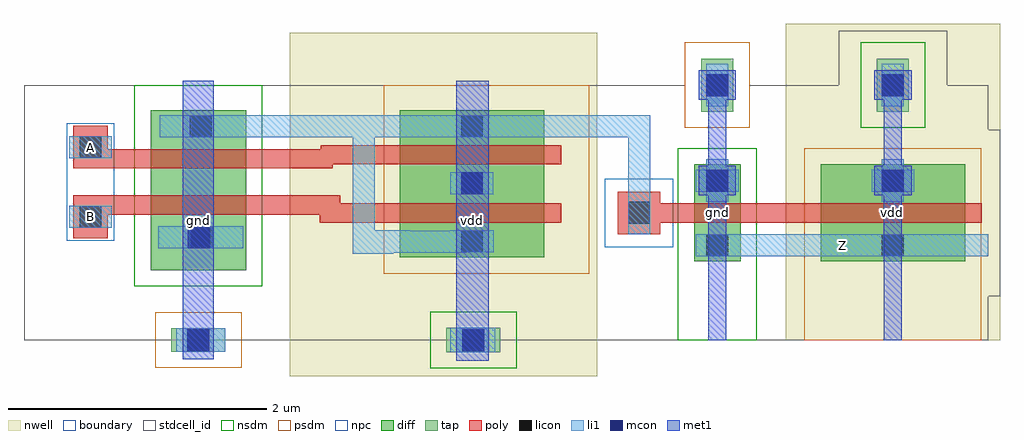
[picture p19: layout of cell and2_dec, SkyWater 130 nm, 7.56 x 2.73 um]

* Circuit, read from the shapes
.subckt and2_dec A B Z gnd vdd
XM1 n1 B gnd gnd sky130_fd_pr__nfet_01v8 w=0.74 l=0.15
XM2 pinv_dec_1/A A n1 gnd sky130_fd_pr__nfet_01v8 w=0.74 l=0.15
XM3 gnd pinv_dec_1/A Z gnd sky130_fd_pr__nfet_01v8 w=0.36 l=0.15
XM4 vdd B pinv_dec_1/A vdd sky130_fd_pr__pfet_01v8 w=1.12 l=0.15
XM5 pinv_dec_1/A A vdd vdd sky130_fd_pr__pfet_01v8 w=1.12 l=0.15
XM6 vdd pinv_dec_1/A Z vdd sky130_fd_pr__pfet_01v8 w=1.12 l=0.15
.ends

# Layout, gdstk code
from math import pi, radians
import gdstk
lib = gdstk.Library(unit=1e-6, precision=1e-09)
def R(c, l, rs):  # rectangles x0, y0, x1, y1
    for r in rs: c.add(gdstk.rectangle(r[:2], r[2:], *l))
nwell = (64, 20)
diff = (65, 20)
tap = (65, 44)
poly = (66, 20)
licon = (66, 44)
li1 = (67, 20)
mcon = (67, 44)
met1 = (68, 20)
stdcell_id = (81, 4)
nsdm = (93, 44)
psdm = (94, 20)
npc = (95, 20)
boundary = (235, 4)

nand2_dec = lib.new_cell('nand2_dec')
R(nand2_dec, nwell, [(2.06,-0.28,4.44,2.38)])
R(nand2_dec, diff, [(0.98,0.54,1.72,1.78), (2.91,0.64,4.03,1.78)])
R(nand2_dec, tap, [(3.27,-0.095,3.69,0.095), (1.14,-0.09,1.56,0.09)])
R(nand2_dec, poly, [(0.38,0.79,0.65,0.97), (2.29,0.91,4.16,0.97), (0.38,0.97,4.16,1.06), (0.38,1.06,2.45,1.12), (0.38,1.33,2.39,1.36), (0.38,1.36,4.16,1.48), (0.38,1.48,0.65,1.66), (2.3,1.48,4.16,1.51)])
R(nand2_dec, licon, [(1.265,-0.085,1.435,0.085), (3.395,-0.085,3.565,0.085), (3.385,0.68,3.555,0.85), (1.295,0.71,1.465,0.88), (0.43,0.87,0.6,1.04), (3.385,1.13,3.555,1.3), (0.43,1.41,0.6,1.58), (1.285,1.57,1.455,1.74), (3.385,1.57,3.555,1.74)])
R(nand2_dec, li1, [(3.3,-0.095,3.65,0.095), (1.18,-0.09,1.56,0.09), (2.545,0.67,2.86,0.675), (2.545,0.675,3.425,0.68), (2.545,0.68,3.64,0.845), (1.04,0.71,1.7,0.88), (2.545,0.845,2.99,0.85), (3.3,0.845,3.64,0.85), (2.545,0.85,2.715,1.57), (0.35,0.87,0.68,1.04), (0.35,0.87,0.68,1.04), (3.3,1.13,3.635,1.3), (0.35,1.41,0.68,1.58), (0.35,1.41,0.68,1.58), (1.05,1.57,4.44,1.74), (1.05,1.57,4.44,1.74)])
R(nand2_dec, mcon, [(1.265,-0.085,1.435,0.085), (3.395,-0.085,3.565,0.085), (1.27,0.71,1.44,0.88), (3.385,1.13,3.555,1.3)])
R(nand2_dec, met1, [(3.35,-0.16,3.6,2.01), (3.35,-0.16,3.6,2.01), (1.23,-0.15,1.47,2.01), (1.23,-0.15,1.47,2.01)])
R(nand2_dec, nsdm, [(3.145,-0.22,3.815,0.22), (0.855,0.415,1.845,1.975)])
R(nand2_dec, psdm, [(1.015,-0.215,1.685,0.215), (2.785,0.515,4.38,1.975)])
R(nand2_dec, npc, [(0.33,0.77,0.7,1.68)])
R(nand2_dec, boundary, [(0,0,4.38,1.975)])
nand2_dec.add(gdstk.Label('B', (0.515,0.955), layer=67, texttype=20))
nand2_dec.add(gdstk.Label('A', (0.515,1.495), layer=67, texttype=20))
nand2_dec.add(gdstk.Label('Z', (4.27,1.655), layer=67, texttype=20))
nand2_dec.add(gdstk.Label('vdd', (3.48,0.47), layer=68, texttype=16))
nand2_dec.add(gdstk.Label('gnd', (1.34,0.41), layer=68, texttype=16))
nand2_dec.add(gdstk.Label('gnd', (1.35,0.93), layer=68, texttype=16))
nand2_dec.add(gdstk.Label('Z', (2.745,1.655), layer=67, texttype=16))
nand2_dec.add(gdstk.Label('vdd', (3.475,0.925), layer=68, texttype=16))
nand2_dec.add(gdstk.Label('A', (0.515,1.495), layer=67, texttype=16))
nand2_dec.add(gdstk.Label('B', (0.515,0.955), layer=67, texttype=16))

contact_11 = lib.new_cell('contact_11')
R(contact_11, nwell, [(-0.295,-0.255,0.545,0.585)])
R(contact_11, diff, [(0,0.02,0.25,0.31)])
R(contact_11, licon, [(0.04,0.08,0.21,0.25)])
R(contact_11, li1, [(0.04,0,0.21,0.33)])
R(contact_11, stdcell_id, [(-0.295,-0.255,0.545,0.585)])
R(contact_11, psdm, [(-0.125,-0.105,0.375,0.435)])
R(contact_11, boundary, [(-0.295,-0.255,0.545,0.585)])

pmos_m1_w1_120_sli_dli_d = lib.new_cell('pmos_m1_w1_120_sli_dli_da_p')
R(pmos_m1_w1_120_sli_dli_d, nwell, [(-0.27,-0.27,1.02,1.39)])
R(pmos_m1_w1_120_sli_dli_d, diff, [(0,0,0.75,1.12)])
R(pmos_m1_w1_120_sli_dli_d, poly, [(0.3,-0.13,0.45,1.25), (0.3,-0.13,0.45,1.25)])
R(pmos_m1_w1_120_sli_dli_d, li1, [(0.04,0.395,0.21,0.725), (0.54,0.395,0.71,0.725)])
R(pmos_m1_w1_120_sli_dli_d, stdcell_id, [(-0.27,-0.27,1.02,1.39)])
R(pmos_m1_w1_120_sli_dli_d, psdm, [(-0.125,-0.125,0.875,1.245)])
R(pmos_m1_w1_120_sli_dli_d, boundary, [(-0.27,-0.27,1.02,1.39)])
pmos_m1_w1_120_sli_dli_d.add(gdstk.Reference(contact_11, (0,0.395)))
pmos_m1_w1_120_sli_dli_d.add(gdstk.Reference(contact_11, (0.5,0.395)))
pmos_m1_w1_120_sli_dli_d.add(gdstk.Label('S', (0.125,0.56), layer=67, texttype=16))
pmos_m1_w1_120_sli_dli_d.add(gdstk.Label('G', (0.375,0.56), layer=66, texttype=16))
pmos_m1_w1_120_sli_dli_d.add(gdstk.Label('D', (0.625,0.56), layer=67, texttype=16))

contact_17 = lib.new_cell('contact_17')
R(contact_17, diff, [(0,0.02,0.25,0.31)])
R(contact_17, licon, [(0.04,0.08,0.21,0.25)])
R(contact_17, li1, [(0.04,0,0.21,0.33)])
R(contact_17, stdcell_id, [(-0.125,-0.105,0.375,0.435)])
R(contact_17, nsdm, [(-0.125,-0.105,0.375,0.435)])
R(contact_17, boundary, [(-0.125,-0.105,0.375,0.435)])

nmos_m1_w0_360_sli_dli_d = lib.new_cell('nmos_m1_w0_360_sli_dli_da_p')
R(nmos_m1_w0_360_sli_dli_d, diff, [(0,0,0.75,0.36)])
R(nmos_m1_w0_360_sli_dli_d, poly, [(0.3,-0.13,0.45,0.49), (0.3,-0.13,0.45,0.49)])
R(nmos_m1_w0_360_sli_dli_d, li1, [(0.04,0.015,0.21,0.345), (0.54,0.015,0.71,0.345)])
R(nmos_m1_w0_360_sli_dli_d, stdcell_id, [(-0.125,-0.13,0.875,0.49)])
R(nmos_m1_w0_360_sli_dli_d, nsdm, [(-0.125,-0.125,0.875,0.485)])
R(nmos_m1_w0_360_sli_dli_d, boundary, [(-0.125,-0.13,0.875,0.49)])
nmos_m1_w0_360_sli_dli_d.add(gdstk.Reference(contact_17, (0,0.015)))
nmos_m1_w0_360_sli_dli_d.add(gdstk.Reference(contact_17, (0.5,0.015)))
nmos_m1_w0_360_sli_dli_d.add(gdstk.Label('S', (0.125,0.18), layer=67, texttype=16))
nmos_m1_w0_360_sli_dli_d.add(gdstk.Label('G', (0.375,0.18), layer=66, texttype=16))
nmos_m1_w0_360_sli_dli_d.add(gdstk.Label('D', (0.625,0.18), layer=67, texttype=16))

contact_13 = lib.new_cell('contact_13')
R(contact_13, nwell, [(-0.295,-0.215,0.545,0.625)])
R(contact_13, tap, [(0,0,0.25,0.41)])
R(contact_13, licon, [(0.04,0.12,0.21,0.29)])
R(contact_13, li1, [(0.04,0.04,0.21,0.37)])
R(contact_13, stdcell_id, [(-0.295,-0.215,0.545,0.625)])
R(contact_13, nsdm, [(-0.125,-0.125,0.375,0.535)])
R(contact_13, boundary, [(-0.295,-0.215,0.545,0.625)])

contact_7 = lib.new_cell('contact_7')
R(contact_7, li1, [(0.06,0,0.23,0.33)])
R(contact_7, mcon, [(0.06,0.08,0.23,0.25)])
R(contact_7, met1, [(0,0.05,0.29,0.28)])
R(contact_7, stdcell_id, [(0,0,0.29,0.33)])
R(contact_7, boundary, [(0,0,0.29,0.33)])

contact_18 = lib.new_cell('contact_18')
R(contact_18, tap, [(0,0,0.25,0.41)])
R(contact_18, licon, [(0.04,0.12,0.21,0.29)])
R(contact_18, li1, [(0.04,0.04,0.21,0.37)])
R(contact_18, stdcell_id, [(-0.125,-0.125,0.375,0.535)])
R(contact_18, psdm, [(-0.125,-0.125,0.375,0.535)])
R(contact_18, boundary, [(-0.125,-0.125,0.375,0.535)])

contact_12 = lib.new_cell('contact_12')
R(contact_12, poly, [(0,0,0.33,0.33)])
R(contact_12, licon, [(0.08,0.08,0.25,0.25)])
R(contact_12, li1, [(0.08,0,0.25,0.33)])
R(contact_12, stdcell_id, [(-0.1,-0.1,0.43,0.43)])
R(contact_12, npc, [(-0.1,-0.1,0.43,0.43)])
R(contact_12, boundary, [(-0.1,-0.1,0.43,0.43)])

pinv_dec = lib.new_cell('pinv_dec')
R(pinv_dec, nwell, [(1.52,0,3.18,2.45)])
R(pinv_dec, poly, [(0.385,0.91,0.68,1.06), (1.3,0.91,1.66,1.06)])
R(pinv_dec, li1, [(0.825,0.65,3.09,0.82), (0.3,0.82,0.47,1.15)])
R(pinv_dec, met1, [(0.92,0,1.06,1.975), (2.28,0,2.42,1.975)])
R(pinv_dec, stdcell_id, [(0,0,3.09,1.975), (0,0,3.09,1.975)])
R(pinv_dec, nsdm, [(0.685,0,1.295,1.36)])
R(pinv_dec, psdm, [(1.665,0,3.035,1.36)])
R(pinv_dec, boundary, [(0,0,3.09,1.975), (0,0,3.09,1.975)])
pinv_dec.add(gdstk.Reference(pmos_m1_w1_120_sli_dli_d, (1.79,1.36), rotation=3*pi/2))
pinv_dec.add(gdstk.Reference(nmos_m1_w0_360_sli_dli_d, (0.81,1.36), rotation=3*pi/2))
pinv_dec.add(gdstk.Reference(contact_13, (2.225,1.77)))
pinv_dec.add(gdstk.Reference(contact_7, (2.205,1.81)))
pinv_dec.add(gdstk.Reference(contact_18, (0.865,1.77)))
pinv_dec.add(gdstk.Reference(contact_7, (0.845,1.81)))
pinv_dec.add(gdstk.Reference(contact_12, (0.22,0.82)))
pinv_dec.add(gdstk.Reference(contact_7, (0.845,1.07)))
pinv_dec.add(gdstk.Reference(contact_7, (2.205,1.07)))
pinv_dec.add(gdstk.Label('gnd', (0.99,0.988), layer=68, texttype=16))
pinv_dec.add(gdstk.Label('Z', (1.958,0.735), layer=67, texttype=16))
pinv_dec.add(gdstk.Label('vdd', (2.35,0.988), layer=68, texttype=16))
pinv_dec.add(gdstk.Label('A', (0.385,0.985), layer=67, texttype=16))

and2_dec = lib.new_cell('and2_dec')
R(and2_dec, li1, [(5.205,0.65,7.47,0.82), (0.35,0.87,0.68,1.04), (4.68,0.985,4.85,1.655), (0.35,1.41,0.68,1.58), (2.745,1.57,4.765,1.74), (4.68,1.57,4.85,1.74)])
R(and2_dec, met1, [(3.35,-0.16,3.6,2.01), (1.23,-0.15,1.47,2.01), (5.3,0,5.44,1.975), (6.66,0,6.8,1.975)])
R(and2_dec, stdcell_id, [(0,0,7.47,1.975)])
R(and2_dec, boundary, [(0,0,7.47,1.975)])
and2_dec.add(gdstk.Reference(nand2_dec, (0,0)))
and2_dec.add(gdstk.Reference(pinv_dec, (4.38,0)))
and2_dec.add(gdstk.Label('gnd', (1.35,0.93), layer=68, texttype=16))
and2_dec.add(gdstk.Label('gnd', (5.37,0.988), layer=68, texttype=16))
and2_dec.add(gdstk.Label('Z', (6.338,0.735), layer=67, texttype=16))
and2_dec.add(gdstk.Label('vdd', (6.73,0.988), layer=68, texttype=16))
and2_dec.add(gdstk.Label('vdd', (3.475,0.925), layer=68, texttype=16))
and2_dec.add(gdstk.Label('A', (0.515,1.495), layer=67, texttype=16))
and2_dec.add(gdstk.Label('B', (0.515,0.955), layer=67, texttype=16))

lib.write_gds('and2_dec.gds')
